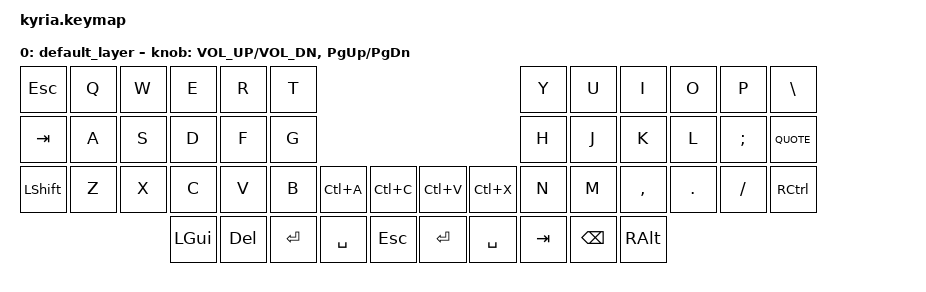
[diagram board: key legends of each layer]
/*
 * Copyright (c) 2020 The ZMK Contributors
 *
 * SPDX-License-Identifier: MIT
 */

#include <behaviors.dtsi>
#include <dt-bindings/zmk/keys.h>

/ {
    keymap {
        compatible = "zmk,keymap";

        default_layer {
// --------------------------------------------------------------------------------------------------------------------------------------------------------------------
// |   ESC   |    Q    |    W    |    E    |    R    |    T    |                                          |    Y    |    U    |    I    |    O    |    P    |    \    |
// |   TAB   |    A    |    S    |    D    |    F    |    G    |                                          |    H    |    J    |    K    |    L    |    ;    |    '    |
// |  SHIFT  |    Z    |    X    |    C    |    V    |    B    | CTRL+A  | CTRL+C  |  |  CTRL+V |  CTRL+X |    N    |    M    |    ,    |    .    |    /    |  R CTRL |
//                               |   GUI   |   DEL   | RETURN  |  SPACE  | ESCAPE  |  |  RETURN |  SPACE  |   TAB   |   BSPC  |  R ALT  |
            bindings = <
    &kp ESC    &kp Q    &kp W    &kp E     &kp R     &kp T                                                 &kp Y     &kp U     &kp I     &kp O     &kp P    &kp BSLH
    &kp TAB    &kp A    &kp S    &kp D     &kp F     &kp G                                                 &kp H     &kp J     &kp K     &kp L     &kp SEMI &kp QUOTE
    &kp LSHIFT &kp Z    &kp X    &kp C     &kp V     &kp B      &kp LC(A) &kp LC(C)    &kp LC(V) &kp LC(X) &kp N     &kp M     &kp COMMA &kp DOT   &kp FSLH &kp RCTRL
                                 &kp LGUI  &kp DEL   &kp RET    &kp SPACE &kp ESC      &kp RET   &kp SPACE &kp TAB   &kp BSPC  &kp RALT
            >;

            sensor-bindings = <&inc_dec_kp C_VOL_UP C_VOL_DN &inc_dec_kp PG_UP PG_DN>;
        };
    };
};
